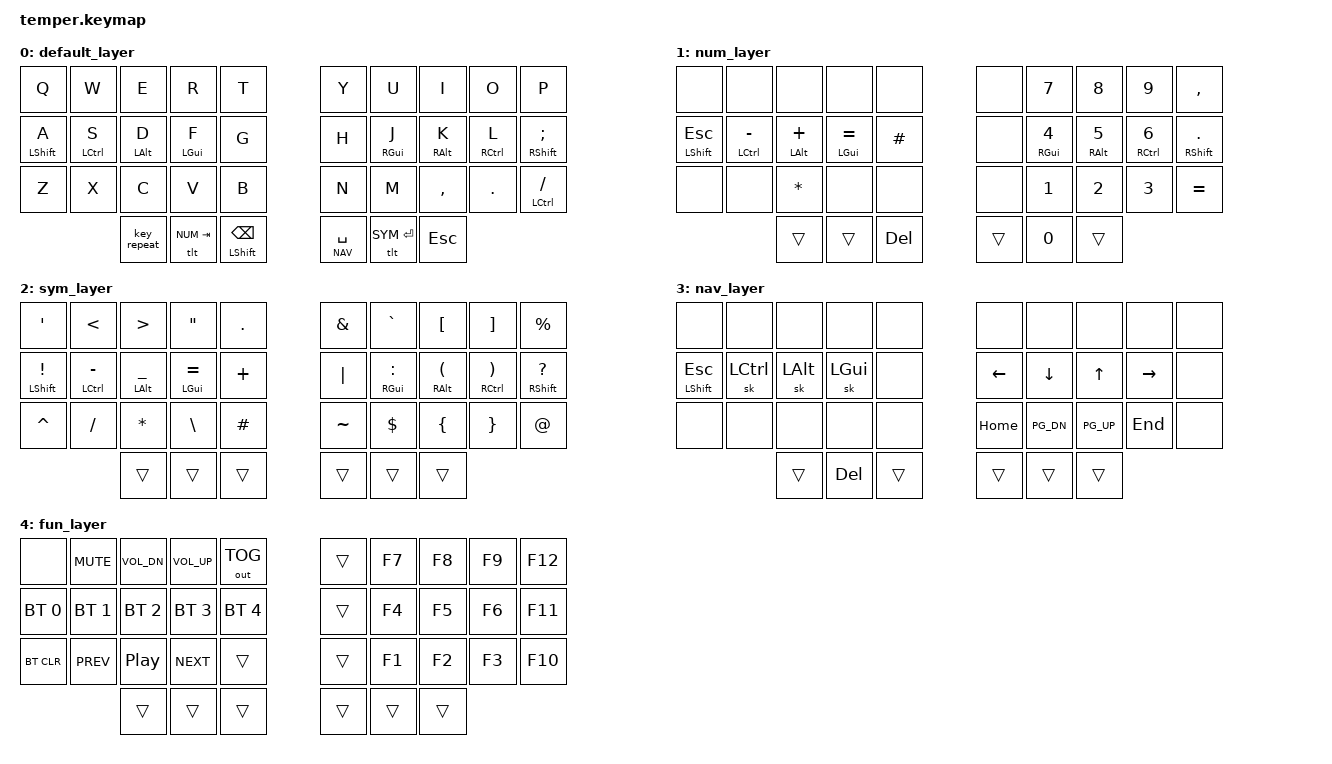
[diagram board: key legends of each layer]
/*
 * Copyright (c) 2020 The ZMK Contributors
 *
 * SPDX-License-Identifier: MIT
 */

#include <behaviors.dtsi>
#include <dt-bindings/zmk/keys.h>
#include <dt-bindings/zmk/bt.h>
#include <dt-bindings/zmk/outputs.h>

// Include ZMK Nodefree config from https://github.com/urob/zmk-helpers/tree/main
#include "../../../zmk-nodefree-config/helper.h"
#include "../../../zmk-nodefree-config/keypos_def/keypos_36keys.h"

#define KEYS_L LT0 LT1 LT2 LT3 LT4 LM0 LM1 LM2 LM3 LM4 LB0 LB1 LB2 LB3 LB4  // left-hand keys
#define KEYS_R RT0 RT1 RT2 RT3 RT4 RM0 RM1 RM2 RM3 RM4 RB0 RB1 RB2 RB3 RB4  // right-hand keys
#define THUMBS LH2 LH1 LH0 RH0 RH1 RH2

#define DEFAULT 0
#define NUM 1
#define SYM 2
#define NAV 3
#define FUN 4

/* Conditional layers */
ZMK_CONDITIONAL_LAYER(NUM SYM, FUN)


/* Behaviors */
// left-hand HRMs
ZMK_BEHAVIOR(hml, hold_tap,
    flavor = "balanced";
    tapping-term-ms = <280>;
    quick-tap-ms = <175>;                // repeat on tap-into-hold
    require-prior-idle-ms = <150>;
    bindings = <&kp>, <&kp>;
    hold-trigger-key-positions = <KEYS_R THUMBS>;
    hold-trigger-on-release;             // delay positional check until key-release
)

// right-hand HRMs
ZMK_BEHAVIOR(hmr, hold_tap,
    flavor = "balanced";
    tapping-term-ms = <280>;
    quick-tap-ms = <175>;                // repeat on tap-into-hold
    require-prior-idle-ms = <150>;
    bindings = <&kp>, <&kp>;
    hold-trigger-key-positions = <KEYS_L THUMBS>;
    hold-trigger-on-release;             // delay positional check until key-release
)

// Thumb Layer Tap Keys
ZMK_BEHAVIOR(tlt, hold_tap,
    flavor = "hold-preferred";
    tapping-term-ms = <280>;
    quick-tap-ms = <175>;                // repeat on tap-into-hold
    bindings = <&mo>, <&kp>;
)


/* Combos */
ZMK_COMBO(esc, &kp ESC, 13 16)
ZMK_COMBO(caps_word, &caps_word, 10 19)
ZMK_COMBO(apostrophe, &kp APOS, 18 19)


/* Layers */
ZMK_LAYER(default_layer,
    // ╭─────────────┬─────────────┬─────────────┬─────────────┬─────────────╮                ╭─────────────┬─────────────┬─────────────┬─────────────┬─────────────╮
            &kp Q         &kp W         &kp E         &kp R          &kp T                           &kp Y        &kp U         &kp I         &kp O         &kp P
    // ├─────────────┼─────────────┼─────────────┼─────────────┼─────────────┤                ├─────────────┼─────────────┼─────────────┼─────────────┼─────────────┤
            &hml LSHIFT A   &hml LCTL S   &hml LALT D   &hml LGUI F  &kp G                            &kp H        &hmr RGUI J         &hmr RALT K         &hmr RCTL L       &hmr RSHIFT SEMI
    // ├─────────────┼─────────────┼─────────────┼─────────────┼─────────────┤                ├─────────────┼─────────────┼─────────────┼─────────────┼─────────────┤
            &kp Z         &kp X         &kp C         &kp V          &kp B                           &kp N        &kp M       &kp COMMA      &kp DOT      &mt LCTL FSLH
    // ╰─────────────┴─────────────┼─────────────┼─────────────┼─────────────┤                ├─────────────┼─────────────┼─────────────┼─────────────┴─────────────╯
                    &key_repeat      &tlt NUM TAB     &mt LSHIFT BSPC                   &lt              NAV SPACE      &tlt SYM RET     &kp ESC
    //                         ╰─────────────┴─────────────┴─────────────╯              ╰─────────────┴─────────────┴─────────────╯
)

ZMK_LAYER(num_layer,
    // ╭─────────────┬─────────────┬─────────────┬─────────────┬─────────────╮   ╭─────────────┬─────────────┬─────────────┬─────────────┬─────────────╮
        &none       &none      &none      &none     &none                                           &none       &kp N7        &kp N8        &kp N9      &kp COMMA
    // ├─────────────┼─────────────┼─────────────┼─────────────┼─────────────┤   ├─────────────┼─────────────┼─────────────┼─────────────┼─────────────┤
        &hml LSHIFT ESC      &hml LCTL MINUS   &hml LALT PLUS  &hml LGUI EQUAL  &kp HASH            &none       &hmr RGUI N4    &hmr RALT N5   &hmr RCTL N6  &hmr RSHIFT DOT
    // ├─────────────┼─────────────┼─────────────┼─────────────┼─────────────┤   ├─────────────┼─────────────┼─────────────┼─────────────┼─────────────┤
        &none     &none       &kp STAR      &none       &none                                       &none      &kp N1        &kp N2        &kp N3      &kp EQUAL
    // ╰─────────────┴─────────────┼─────────────┼─────────────┼─────────────┤   ├─────────────┼─────────────┼─────────────┼─────────────┴─────────────╯
                                        &trans        &trans        &kp DEL            &trans        &kp N0        &trans
    //                             ╰─────────────┴─────────────┴─────────────╯   ╰─────────────┴─────────────┴─────────────╯
)

ZMK_LAYER(sym_layer,
    // ╭─────────────┬─────────────┬─────────────┬─────────────┬─────────────╮   ╭─────────────┬─────────────┬─────────────┬─────────────┬─────────────╮
        &kp APOS       &kp LT       &kp GT      &kp DQT     &kp DOT                                          &kp AMPS       &kp GRAVE        &kp LBKT        &kp RBKT      &kp PRCNT
    // ├─────────────┼─────────────┼─────────────┼─────────────┼─────────────┤   ├─────────────┼─────────────┼─────────────┼─────────────┼─────────────┤
        &hml LSHIFT EXCL      &hml LCTL MINUS      &hml LALT UNDER     &hml LGUI EQUAL    &kp PLUS           &kp PIPE       &hmr RGUI COLON        &hmr RALT LPAR        &hmr RCTL RPAR      &hmr RSHIFT QMARK
    // ├─────────────┼─────────────┼─────────────┼─────────────┼─────────────┤   ├─────────────┼─────────────┼─────────────┼─────────────┼─────────────┤
        &kp CARET     &kp FSLH     &kp STAR     &kp BSLH    &kp HASH                                         &kp TILDE      &kp DLLR        &kp LBRC        &kp RBRC      &kp AT
    // ╰─────────────┴─────────────┼─────────────┼─────────────┼─────────────┤   ├─────────────┼─────────────┼─────────────┼─────────────┴─────────────╯
                                        &trans        &trans        &trans            &trans        &trans        &trans
    //                             ╰─────────────┴─────────────┴─────────────╯   ╰─────────────┴─────────────┴─────────────╯
)

ZMK_LAYER(nav_layer,
    // ╭─────────────┬─────────────┬─────────────┬─────────────┬─────────────╮   ╭─────────────┬─────────────┬─────────────┬─────────────┬─────────────╮
            &none        &none        &none        &none        &none            &none       &none           &none       &none     &none
    // ├─────────────┼─────────────┼─────────────┼─────────────┼─────────────┤   ├─────────────┼─────────────┼─────────────┼─────────────┼─────────────┤
        &hml LSHIFT ESC     &sk LCTRL      &sk LALT      &sk LGUI      &none           &kp LEFT      &kp DOWN       &kp UP      &kp RIGHT   &none
    // ├─────────────┼─────────────┼─────────────┼─────────────┼─────────────┤   ├─────────────┼─────────────┼─────────────┼─────────────┼─────────────┤
            &none       &none        &none        &none        &none            &kp HOME        &PG_DN       &PG_UP        &kp END    &none
    // ╰─────────────┴─────────────┼─────────────┼─────────────┼─────────────┤   ├─────────────┼─────────────┼─────────────┼─────────────┴─────────────╯
                                        &trans        &kp DEL       &trans            &trans        &trans        &trans
    //                             ╰─────────────┴─────────────┴─────────────╯   ╰─────────────┴─────────────┴─────────────╯
)

ZMK_LAYER(fun_layer,
    // ╭─────────────┬─────────────┬─────────────┬─────────────┬─────────────╮   ╭─────────────┬─────────────┬─────────────┬─────────────┬─────────────╮
        &none   &kp K_MUTE    &kp C_VOL_DN  &kp C_VOL_UP  &out OUT_TOG         &trans        &kp F7        &kp F8        &kp F9       &kp F12
    // ├─────────────┼─────────────┼─────────────┼─────────────┼─────────────┤   ├─────────────┼─────────────┼─────────────┼─────────────┼─────────────┤
        &bt BT_SEL 0  &bt BT_SEL 1  &bt BT_SEL 2  &bt BT_SEL 3  &bt BT_SEL 4         &trans        &kp F4        &kp F5        &kp F6       &kp F11
    // ├─────────────┼─────────────┼─────────────┼─────────────┼─────────────┤   ├─────────────┼─────────────┼─────────────┼─────────────┼─────────────┤
        &bt BT_CLR    &kp C_PREV     &kp C_PP     &kp C_NEXT      &trans            &trans        &kp F1        &kp F2        &kp F3       &kp F10
    // ╰─────────────┴─────────────┼─────────────┼─────────────┼─────────────┤   ├─────────────┼─────────────┼─────────────┼─────────────┴─────────────╯
                                        &trans        &trans        &trans            &trans        &trans        &trans
    //                             ╰─────────────┴─────────────┴─────────────╯   ╰─────────────┴─────────────┴─────────────╯
)


// / {
//     conditional_layers {
//         compatible = "zmk,conditional-layers";
//         tri_layer {
//             if-layers = <NUM SYM>;
//             then-layer = <FUN>;
//         };
//     };
//     behaviors {

//     };
//     combos {
//         compatible = "zmk,combos";
//         combo_esc {
//             timeout-ms = <50>;
//             key-positions = <13 16>;
//             bindings = <&kp ESC>;
//         };
//         combo_caps_word {
//             timeout-ms = <50>;
//             key-positions = <10 19>;
//             bindings = <&caps_word>;
//         };
//         combo_apos {
//             timeout-ms = <50>;
//             key-positions = <18 19>;
//             bindings = <&kp APOS>;
//         };
//     };
//         keymap {
//                 compatible = "zmk,keymap";

//                 default_layer {
//                         bindings = <

// // ╭─────────────┬─────────────┬─────────────┬─────────────┬─────────────╮   ╭─────────────┬─────────────┬─────────────┬─────────────┬─────────────╮
//         &kp Q         &kp W         &kp E         &kp R         &kp T              &kp Y        &kp U         &kp I         &kp O         &kp P
// // ├─────────────┼─────────────┼─────────────┼─────────────┼─────────────┤   ├─────────────┼─────────────┼─────────────┼─────────────┼─────────────┤
//         &kp A         &kp S         &kp D         &kp F         &kp G              &kp H        &kp J         &kp K         &kp L       &kp SEMI
// // ├─────────────┼─────────────┼─────────────┼─────────────┼─────────────┤   ├─────────────┼─────────────┼─────────────┼─────────────┼─────────────┤
//         &kp Z         &kp X         &kp C         &kp V         &kp B              &kp N        &kp M       &kp COMMA      &kp DOT      &mt LCTL FSLH
// // ╰─────────────┴─────────────┼─────────────┼─────────────┼─────────────┤   ├─────────────┼─────────────┼─────────────┼─────────────┴─────────────╯
//                 &mt LGUI ESC      &lt NUM TAB     &mt LSHIFT BSPC        &lt NAV SPACE      &lt SYM RET     &kp RALT
// //                         ╰─────────────┴─────────────┴─────────────╯   ╰─────────────┴─────────────┴─────────────╯
//                         >;
//                 };
//                 num_layer {
//                         bindings = <
// // ╭─────────────┬─────────────┬─────────────┬─────────────┬─────────────╮   ╭─────────────┬─────────────┬─────────────┬─────────────┬─────────────╮
//       &none       &none      &none      &none     &none              &none       &kp N7        &kp N8        &kp N9      &kp COMMA
// // ├─────────────┼─────────────┼─────────────┼─────────────┼─────────────┤   ├─────────────┼─────────────┼─────────────┼─────────────┼─────────────┤
//       &none      &kp MINUS   &kp PLUS  &kp EQUAL  &kp HASH            &none       &kp N4        &kp N5        &kp N6      &kp DOT
// // ├─────────────┼─────────────┼─────────────┼─────────────┼─────────────┤   ├─────────────┼─────────────┼─────────────┼─────────────┼─────────────┤
//       &none     &none       &kp STAR      &none       &none           &none      &kp N1        &kp N2        &kp N3      &kp EQUAL
// // ╰─────────────┴─────────────┼─────────────┼─────────────┼─────────────┤   ├─────────────┼─────────────┼─────────────┼─────────────┴─────────────╯
//                                     &trans        &trans        &trans            &trans        &trans        &kp N0
// //                             ╰─────────────┴─────────────┴─────────────╯   ╰─────────────┴─────────────┴─────────────╯
//                         >;
//                 };
//                 sym_layer {
//                         bindings = <
// // ╭─────────────┬─────────────┬─────────────┬─────────────┬─────────────╮   ╭─────────────┬─────────────┬─────────────┬─────────────┬─────────────╮
//       &kp APOS       &kp LT       &kp GT      &kp DQT     &kp DOT               &kp AMPS       &none        &kp LBKT        &kp RBKT      &kp PRCNT
// // ├─────────────┼─────────────┼─────────────┼─────────────┼─────────────┤   ├─────────────┼─────────────┼─────────────┼─────────────┼─────────────┤
//       &kp EXCL      &kp MINUS      &kp PLUS     &kp EQUAL    &kp UNDER         &kp PIPE       &kp COLON        &kp LPAR        &kp RPAR      &kp QMARK
// // ├─────────────┼─────────────┼─────────────┼─────────────┼─────────────┤   ├─────────────┼─────────────┼─────────────┼─────────────┼─────────────┤
//       &kp CARET     &kp FSLH     &kp STAR     &kp BSLH    &kp HASH          &kp TILDE      &kp DLLR        &kp LBRC        &kp RBRC      &kp AT
// // ╰─────────────┴─────────────┼─────────────┼─────────────┼─────────────┤   ├─────────────┼─────────────┼─────────────┼─────────────┴─────────────╯
//                                     &trans        &trans        &trans            &trans        &trans        &trans
// //                             ╰─────────────┴─────────────┴─────────────╯   ╰─────────────┴─────────────┴─────────────╯
//                         >;
//                 };

//                 nav_layer {
//                         bindings = <
// // ╭─────────────┬─────────────┬─────────────┬─────────────┬─────────────╮   ╭─────────────┬─────────────┬─────────────┬─────────────┬─────────────╮
//         &none        &none        &none        &none        &none            &none       &none           &none       &none     &none
// // ├─────────────┼─────────────┼─────────────┼─────────────┼─────────────┤   ├─────────────┼─────────────┼─────────────┼─────────────┼─────────────┤
//       &gresc     &sk LCTRL      &sk LALT      &sk LGUI      &none           &kp LEFT      &kp DOWN       &kp UP      &kp RIGHT   &none
// // ├─────────────┼─────────────┼─────────────┼─────────────┼─────────────┤   ├─────────────┼─────────────┼─────────────┼─────────────┼─────────────┤
//         &none       &none        &none        &none        &none            &kp HOME        &none       &none        &kp END    &none
// // ╰─────────────┴─────────────┼─────────────┼─────────────┼─────────────┤   ├─────────────┼─────────────┼─────────────┼─────────────┴─────────────╯
//                                     &trans        &kp DEL       &trans            &trans        &trans        &trans
// //                             ╰─────────────┴─────────────┴─────────────╯   ╰─────────────┴─────────────┴─────────────╯
//                         >;
//                 };

//                 fun_layer {
//                         bindings = <
// // ╭─────────────┬─────────────┬─────────────┬─────────────┬─────────────╮   ╭─────────────┬─────────────┬─────────────┬─────────────┬─────────────╮
//      &none   &kp K_MUTE    &kp C_VOL_DN  &kp C_VOL_UP  &out OUT_TOG         &trans        &kp F7        &kp F8        &kp F9       &kp F12
// // ├─────────────┼─────────────┼─────────────┼─────────────┼─────────────┤   ├─────────────┼─────────────┼─────────────┼─────────────┼─────────────┤
//      &bt BT_SEL 0  &bt BT_SEL 1  &bt BT_SEL 2  &bt BT_SEL 3  &bt BT_SEL 4         &trans        &kp F4        &kp F5        &kp F6       &kp F11
// // ├─────────────┼─────────────┼─────────────┼─────────────┼─────────────┤   ├─────────────┼─────────────┼─────────────┼─────────────┼─────────────┤
//       &bt BT_CLR    &kp C_PREV     &kp C_PP     &kp C_NEXT      &trans            &trans        &kp F1        &kp F2        &kp F3       &kp F10
// // ╰─────────────┴─────────────┼─────────────┼─────────────┼─────────────┤   ├─────────────┼─────────────┼─────────────┼─────────────┴─────────────╯
//                                     &trans        &trans        &trans            &trans        &trans        &trans
// //                             ╰─────────────┴─────────────┴─────────────╯   ╰─────────────┴─────────────┴─────────────╯
//                         >;
//                 };
//         };
// };
